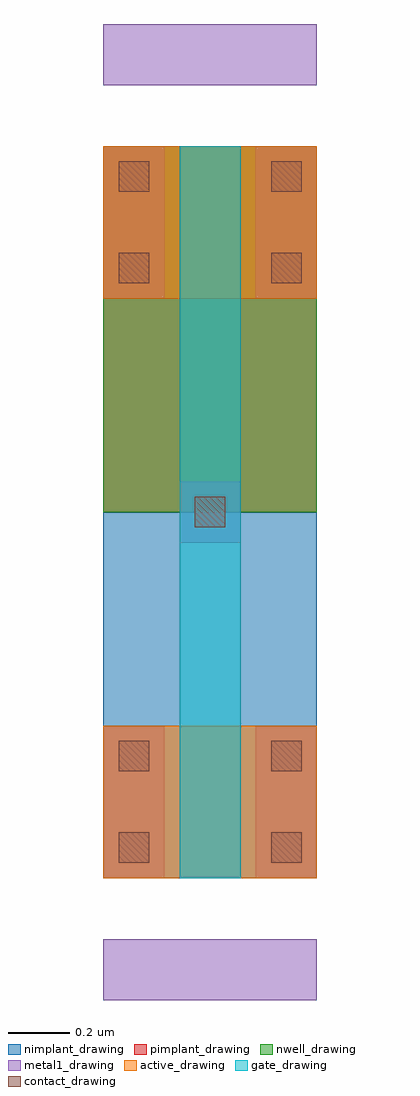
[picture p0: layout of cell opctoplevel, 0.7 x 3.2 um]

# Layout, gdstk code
import gdstk
lib = gdstk.Library(unit=1e-6, precision=1e-09)
def R(c, l, rs):  # rectangles x0, y0, x1, y1
    for r in rs: c.add(gdstk.rectangle(r[:2], r[2:], *l))
active_drawing = (1, 0)
nwell_drawing = (3, 0)
pimplant_drawing = (4, 0)
nimplant_drawing = (5, 0)
gate_drawing = (6, 0)
contact_drawing = (7, 0)
metal1_drawing = (8, 0)

opctoplevel = lib.new_cell('opctoplevel')
R(opctoplevel, active_drawing, [(0,0,0.7,0.5), (0,1.9,0.7,2.4)])
R(opctoplevel, nwell_drawing, [(0,1.2,0.7,2.4)])
R(opctoplevel, pimplant_drawing, [(0,1.2,0.7,2.4)])
R(opctoplevel, nimplant_drawing, [(0,0,0.7,1.2)])
R(opctoplevel, gate_drawing, [(0.25,0,0.45,1.3), (0.25,1.2,0.45,2.4)])
R(opctoplevel, contact_drawing, [(0.05,0.05,0.15,0.15), (0.55,0.05,0.65,0.15), (0.05,0.35,0.15,0.45), (0.55,0.35,0.65,0.45), (0.3,1.15,0.4,1.25), (0.05,1.95,0.15,2.05), (0.55,1.95,0.65,2.05), (0.05,2.25,0.15,2.35), (0.55,2.25,0.65,2.35)])
R(opctoplevel, metal1_drawing, [(0,-0.4,0.7,-0.2), (0,0,0.2,0.5), (0.5,0,0.7,0.5), (0.25,1.1,0.45,1.3), (0,1.9,0.2,2.4), (0.5,1.9,0.7,2.4), (0,2.6,0.7,2.8)])

lib.write_gds('opctoplevel.gds')
